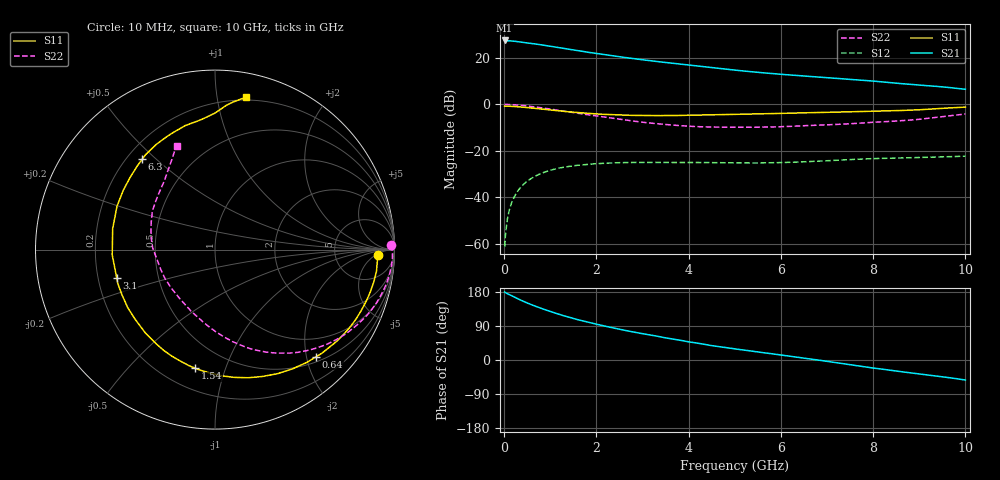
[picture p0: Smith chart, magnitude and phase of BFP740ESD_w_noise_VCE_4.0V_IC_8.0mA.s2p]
! Infineon Technologies  Discrete & RF Semiconductors
! BFP740ESD
! VCE =  4.0 V,  IC =  8.0 mA
! Common Emitter S-Parameters:  Jan 2016
# GHz  S  MA  R  50
!  f  S11  S21  S12  S22
! GHz  MAG  ANG  MAG  ANG  MAG  ANG  MAG  ANG
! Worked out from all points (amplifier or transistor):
!   233 points, 10 MHz to 10 GHz, reference 50 ohm
!   highest |S21| = 27.4 dB at 10 MHz (marker M1)
!   |S21| within 3 dB of that: start of sweep to 1.165 GHz
!   unconditionally stable (mu >= 1): start of sweep to 11.38 MHz; 5.331 GHz to 9.116 GHz
!   at 200 MHz: K = 0.12, MSG = 33.8 dB, |S12| = -40.5 dB
!   at 1.74 GHz: K = 0.36, MSG = 24.2 dB, |S12| = -25.9 dB
!   at 10 GHz: K = 0.70, MSG = 14.4 dB, |S12| = -22.3 dB
!   lowest NFmin = 0.57 dB at 450 MHz
!   S11 on the Smith chart (normalised r, x): 10 MHz: 19, -7; 640 MHz: 0.60, -2.19; 1.54 GHz: 0.33, -0.79; 3.1 GHz: 0.28, -0.13; 6.3 GHz: 0.26, +0.45; 10 GHz: 0.18, +1.21
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0.01  0.9096 -1.9  23.37 179.5  0.0009 2.7  0.9808 1.4
0.06  0.9068 -4.6  22.98 175.6  0.0029 76.8  0.989 -3.0
0.15  0.9028 -11.6  22.83 170.2  0.0071 78.8  0.9829 -7.7
0.3  0.8822 -22.8  22.08 161.2  0.014 74.2  0.9606 -15.0
0.5  0.8489 -37.1  20.82 150.5  0.0223 66.8  0.9182 -24.2
0.64  0.8209 -46.6  19.88 143.7  0.0274 61.5  0.8827 -30.1
0.82  0.7879 -58.3  18.68 135.6  0.0333 55.3  0.8362 -37.3
1.02  0.7504 -70.8  17.43 127.2  0.0388 49.1  0.7825 -44.8
1.28  0.707 -85.8  15.87 117.2  0.0443 41.7  0.7151 -53.6
1.54  0.67 -99.4  14.42 108.4  0.0484 35.6  0.6527 -61.5
1.68  0.6523 -106.4  13.72 103.8  0.0501 32.5  0.6226 -65.4
2  0.6213 -120.9  12.27 94.5  0.053 26.7  0.561 -73.6
2.4  0.5919 -138.2  10.79 83.7  0.0554 20.4  0.4914 -83.8
2.72  0.5784 -150.9  9.767 75.8  0.0562 16.4  0.4437 -91.9
3.1  0.5699 -164.0  8.753 67.4  0.0566 12.6  0.4011 -101.1
3.4  0.5697 -173.8  8.071 60.8  0.0567 10.0  0.3749 -108.6
4  0.582 168.4  6.947 48.0  0.0566 6.0  0.338 -124.6
5.1  0.6102 145.6  5.272 27.7  0.0551 2.4  0.321 -152.0
6.3  0.6467 128.8  4.17 8.3  0.0572 2.9  0.3388 -177.6
6.8  0.6636 122.0  3.842 -0.0  0.06 2.6  0.3548 173.1
8.4  0.7234 97.5  2.885 -27.5  0.0694 -4.3  0.4297 139.5
10  0.8676 78.4  2.094 -52.9  0.0767 -12.5  0.6179 110.3
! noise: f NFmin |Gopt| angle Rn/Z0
0.45  0.57  0.28  4  0.13
0.9  0.6  0.28  15  0.1
1.9  0.62  0.25  24  0.09
2.4  0.67  0.19  44  0.12
5.5  0.89  0.23  -151  0.13
10  1.72  0.58  -92  0.5
